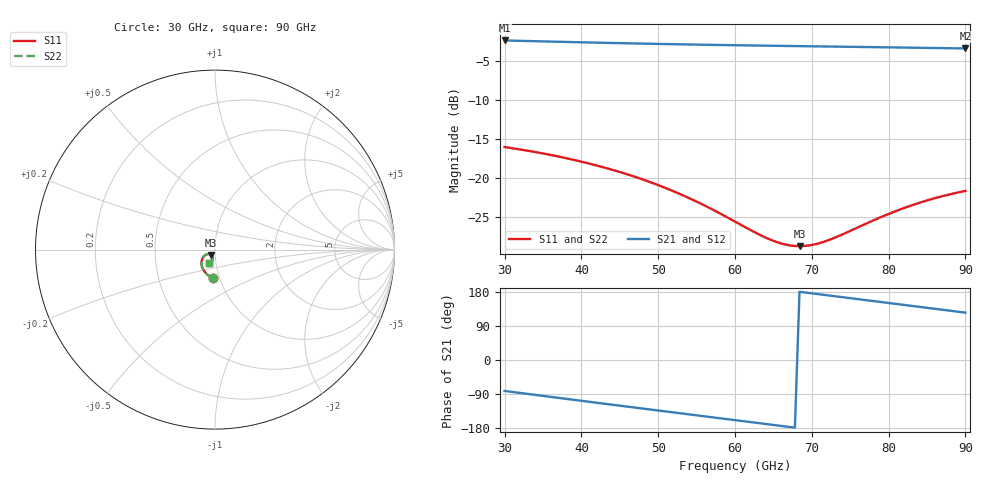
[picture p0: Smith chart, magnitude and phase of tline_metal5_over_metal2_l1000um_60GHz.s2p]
#  GHZ S DB R 50
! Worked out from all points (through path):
!   101 points, 30 GHz to 90 GHz, reference 50 ohm
!   highest |S21| = -2.35 dB at 30 GHz (marker M1); lowest = -3.4 dB at 90 GHz (marker M2)
!   group delay of S21, straight-line fit = 7.08 ps
!   lowest |S11| = -28.7 dB at 68.4 GHz (marker M3), VSWR 1.08, Z = 47.8 - j2.84 ohm
!   |S11| at or under -10 dB: start of sweep to end of sweep
!   |S22| runs from -28.8 to -16.0 dB; largest |S21 - S12| = 0
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30  -16.02 -94.5  -2.35 -81.6  -2.35 -81.6  -16.03 -94.6
32.4  -16.39 -101.4  -2.41 -87.9  -2.41 -87.9  -16.40 -101.4
34.8  -16.81 -108.0  -2.47 -94.2  -2.47 -94.2  -16.81 -108.1
37.2  -17.27 -114.3  -2.52 -100.4  -2.52 -100.4  -17.28 -114.5
40.2  -17.94 -122.0  -2.59 -108.2  -2.59 -108.2  -17.95 -122.1
45  -19.22 -133.1  -2.70 -120.5  -2.70 -120.5  -19.24 -133.3
47.4  -19.98 -138.1  -2.74 -126.6  -2.74 -126.6  -20.00 -138.3
50.4  -21.05 -143.5  -2.80 -134.3  -2.80 -134.3  -21.08 -143.7
55.2  -23.11 -149.6  -2.89 -146.5  -2.89 -146.5  -23.15 -149.9
57.6  -24.30 -150.7  -2.92 -152.6  -2.92 -152.6  -24.35 -151.0
60  -25.57 -150.0  -2.96 -158.7  -2.96 -158.7  -25.64 -150.3
63  -27.16 -145.4  -3.01 -166.3  -3.01 -166.3  -27.25 -145.7
64.8  -27.97 -140.4  -3.03 -170.9  -3.03 -170.9  -28.08 -140.5
66.6  -28.53 -133.6  -3.06 -175.4  -3.06 -175.4  -28.65 -133.7
68.4  -28.73 -126.0  -3.08 180.0  -3.08 180.0  -28.85 -125.9
70.2  -28.53 -118.6  -3.10 175.4  -3.10 175.4  -28.65 -118.3
72  -28.02 -112.3  -3.13 170.8  -3.13 170.8  -28.11 -112.0
75  -26.77 -105.6  -3.17 163.2  -3.17 163.2  -26.84 -105.2
77.4  -25.69 -103.3  -3.20 157.1  -3.20 157.1  -25.75 -103.0
80.4  -24.44 -103.3  -3.24 149.5  -3.24 149.5  -24.48 -103.1
85.2  -22.81 -107.4  -3.31 137.2  -3.31 137.2  -22.85 -107.2
90  -21.64 -114.0  -3.38 125.0  -3.38 125.0  -21.69 -114.0
